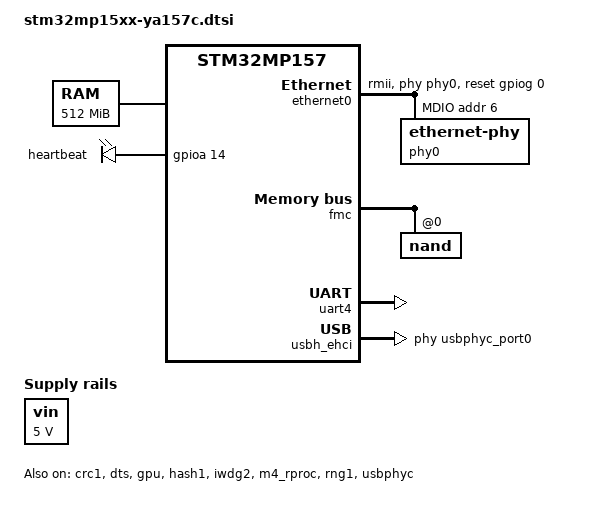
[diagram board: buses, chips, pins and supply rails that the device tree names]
// SPDX-License-Identifier: (GPL-2.0+ OR BSD-3-Clause)
/*
 * Copyright (C) STMicroelectronics 2019 - All Rights Reserved
 * Author: Alexandre Torgue <alexandre.torgue@st.com> for STMicroelectronics.
 */

#include "stm32mp157-m4-srm.dtsi"
#include "stm32mp157-m4-srm-pinctrl.dtsi"
#include <dt-bindings/mfd/st,stpmic1.h>

/ {
	memory@c0000000 {
		device_type = "memory";
		reg = <0xc0000000 0x20000000>;
	};

	reserved-memory {
		#address-cells = <1>;
		#size-cells = <1>;
		ranges;

		mcuram2: mcuram2@10000000 {
			compatible = "shared-dma-pool";
			reg = <0x10000000 0x40000>;
			no-map;
		};

		vdev0vring0: vdev0vring0@10040000 {
			compatible = "shared-dma-pool";
			reg = <0x10040000 0x1000>;
			no-map;
		};

		vdev0vring1: vdev0vring1@10041000 {
			compatible = "shared-dma-pool";
			reg = <0x10041000 0x1000>;
			no-map;
		};

		vdev0buffer: vdev0buffer@10042000 {
			compatible = "shared-dma-pool";
			reg = <0x10042000 0x4000>;
			no-map;
		};

		mcuram: mcuram@30000000 {
			compatible = "shared-dma-pool";
			reg = <0x30000000 0x40000>;
			no-map;
		};

		retram: retram@38000000 {
			compatible = "shared-dma-pool";
			reg = <0x38000000 0x10000>;
			no-map;
		};
	};

	led {
		compatible = "gpio-leds";
		blue {
			label = "heartbeat";
			gpios = <&gpioa 14 GPIO_ACTIVE_HIGH>;
			linux,default-trigger = "heartbeat";
			default-state = "off";
		};
	};

	usb_phy_tuning: usb-phy-tuning {
		st,hs-dc-level = <2>;
		st,fs-rftime-tuning;
		st,hs-rftime-reduction;
		st,hs-current-trim = <15>;
		st,hs-impedance-trim = <1>;
		st,squelch-level = <3>;
		st,hs-rx-offset = <2>;
		st,no-lsfs-sc;
	};

	vin: vin {
		compatible = "regulator-fixed";
		regulator-name = "vin";
		regulator-min-microvolt = <5000000>;
		regulator-max-microvolt = <5000000>;
		regulator-always-on;
	};

	cpu0_opp_table: cpu0-opp-table {
         compatible = "operating-points-v2";
         opp-shared;
         opp-800000000 {
                     opp-hz = /bits/ 64 <800000000>;
                     opp-microvolt = <1350000>;
                     opp-supported-hw = <0x2>;
                     };
     };
};

&optee {
	status = "disable";
};

&cpu0{
	cpu-supply = <&vddcore>;
};

&cpu1{
	cpu-supply = <&vddcore>;
};

&crc1 {
	status = "okay";
};

&dma1 {
	sram = <&dma_pool>;
};

&dma2 {
	sram = <&dma_pool>;
};

&dts {
	status = "okay";
};

&ethernet0 {
        status = "okay";
        pinctrl-0 = <&ethernet0_rgmii_pins_a>;
        pinctrl-1 = <&ethernet0_rgmii_pins_sleep_a>;
        pinctrl-names = "default", "sleep";
        phy-mode = "rmii";
        max-speed = <100>;
        phy-handle = <&phy0>;
	reset-gpios = <&gpiog 0 GPIO_ACTIVE_HIGH>;

        mdio0 {
                #address-cells = <1>;
                #size-cells = <0>;
                compatible = "snps,dwmac-mdio";
                phy0: ethernet-phy@6 {
                        reg = <6>;
                };
        };
};


&gpu {
	contiguous-area = <&gpu_reserved>;
	status = "okay";
};

&hash1 {
	status = "okay";
};


&ipcc {
	status = "okay";
};

&iwdg2 {
	timeout-sec = <32>;
	status = "okay";
};


&m4_rproc {
	memory-region = <&retram>, <&mcuram>, <&mcuram2>, <&vdev0vring0>,
			<&vdev0vring1>, <&vdev0buffer>;
	mboxes = <&ipcc 0>, <&ipcc 1>, <&ipcc 2>;
	mbox-names = "vq0", "vq1", "shutdown";
	interrupt-parent = <&exti>;
	interrupts = <68 1>;
	wakeup-source;
	status = "okay";
};

&rng1 {
	status = "okay";
};

&rtc {
	status = "disable";
};


&fmc {
        pinctrl-names = "default", "sleep";
        pinctrl-0 = <&fmc_pins_a>;
        pinctrl-1 = <&fmc_sleep_pins_a>;
        status = "okay";
        #address-cells = <1>;
        #size-cells = <0>;

        nand: nand@0 {
                reg = <0>;
                nand-on-flash-bbt;
                #address-cells = <1>;
                #size-cells = <1>;
                nand-ecc-strength = <4>;
                nand-ecc-step-size = <512>;
        };
};


&sram {
	dma_pool: dma_pool@0 {
		reg = <0x50000 0x10000>;
		pool;
	};
};


&uart4 {
	pinctrl-names = "default", "sleep", "idle";
	pinctrl-0 = <&uart4_pins_a>;
	pinctrl-1 = <&uart4_sleep_pins_a>;
	pinctrl-2 = <&uart4_idle_pins_a>;
	pinctrl-3 = <&uart4_pins_a>;
	/delete-property/dmas;
	/delete-property/dma-names;
	status = "okay";
};

/*
&uart7 {
	pinctrl-names = "default", "sleep", "idle";
	pinctrl-0 = <&uart7_pins_b>;
	pinctrl-1 = <&uart7_sleep_pins_b>;
	pinctrl-2 = <&uart7_idle_pins_b>;
	/delete-property/dmas;
	/delete-property/dma-names;
	status = "disabled";
};
*/
&usart3 {
	pinctrl-names = "default", "sleep", "idle";
	pinctrl-0 = <&usart3_pins_b>;
	pinctrl-1 = <&usart3_sleep_pins_b>;
	pinctrl-2 = <&usart3_idle_pins_b>;
	uart-has-rtscts;
	status = "disabled";
};

&usbh_ehci {
	phys = <&usbphyc_port0>;
	status = "okay";
};


&usbphyc {
	status = "okay";
};

&usbphyc_port0 {
	phy-supply = <&vdd_usb>;
	st,phy-tuning = <&usb_phy_tuning>;
};




